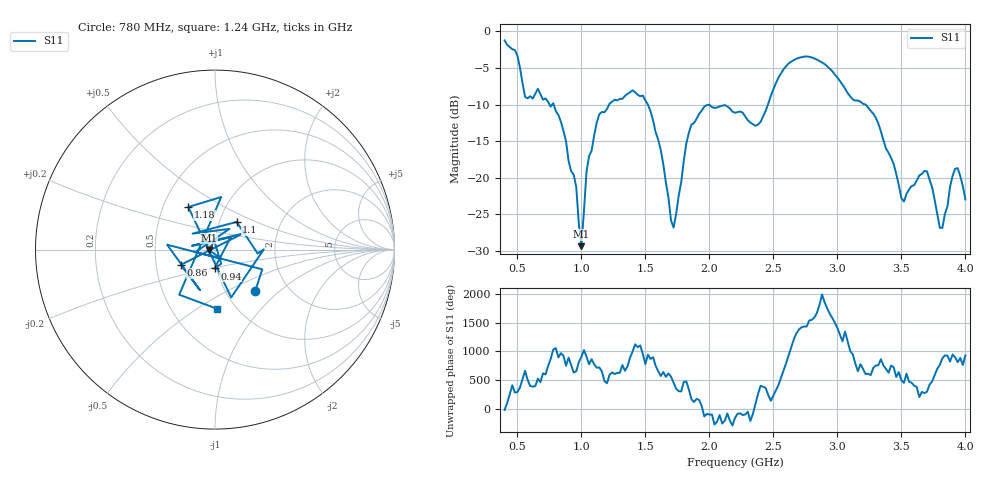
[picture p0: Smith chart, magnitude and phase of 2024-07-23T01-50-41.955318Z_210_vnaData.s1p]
!Created with skrf (http://scikit-rf.org).
# Hz S RI R 50.0
!freq ReS11 ImS11
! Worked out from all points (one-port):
!   181 points, 400 MHz to 4 GHz, reference 50 ohm
!   lowest |S11| = -29.3 dB at 1 GHz (marker M1), VSWR 1.07, Z = 46.7 - j0.213 ohm
!   |S11| at or under -10 dB: 783.5 MHz to 1.217 GHz (433.1 MHz wide, 43.3 % of centre); 1.519 GHz to 2.457 GHz (937.8 MHz wide, 47.2 % of centre); 3.22 GHz to end of sweep (the widest 3 of 4)
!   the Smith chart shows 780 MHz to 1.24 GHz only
!   S11 on the Smith chart (normalised r, x): 780 MHz: 1.36, -0.71; 860 MHz: 0.67, -0.12; 940 MHz: 0.97, -0.21; 1.1 GHz: 1.21, +0.39; 1.18 GHz: 0.67, +0.34; 1.24 GHz: 0.82, -0.61
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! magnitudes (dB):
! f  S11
! 400 MHz  -1.2
! 500 MHz  -3.3
! 560 MHz  -9.0
! 780 MHz  -9.8
! 860 MHz  -13.6
! 940 MHz  -19.6
! 1 GHz  -29.3
! 1.04 GHz  -19.1
! 1.1 GHz  -14.2
! 1.18 GHz  -11.1
! 1.24 GHz  -9.6
! 1.3 GHz  -9.2
! 1.48 GHz  -8.8
! 1.62 GHz  -16.2
! 1.72 GHz  -26.8
! 1.76 GHz  -22.5
! 1.86 GHz  -12.7
! 2.2 GHz  -11.1
! 2.38 GHz  -12.7
! 2.66 GHz  -3.9
! 3.1 GHz  -8.9
! 3.3 GHz  -11.8
! 3.5 GHz  -22.8
! 3.56 GHz  -21.6
! 3.7 GHz  -19.1
! 3.8 GHz  -26.8
! 3.92 GHz  -18.8
! 4 GHz  -23.0
